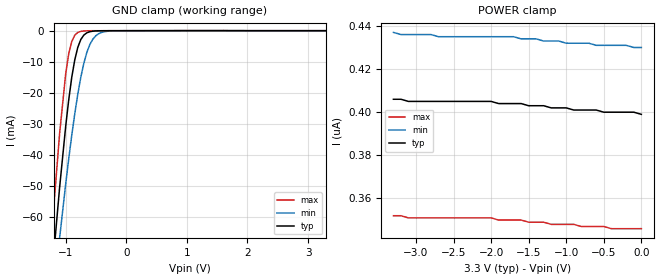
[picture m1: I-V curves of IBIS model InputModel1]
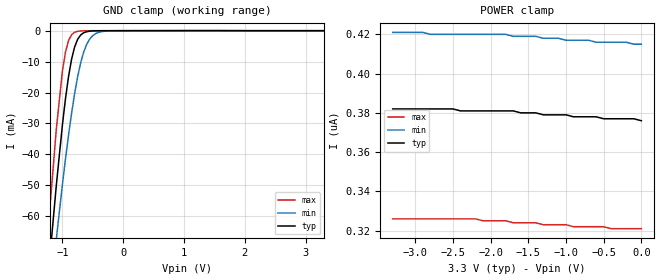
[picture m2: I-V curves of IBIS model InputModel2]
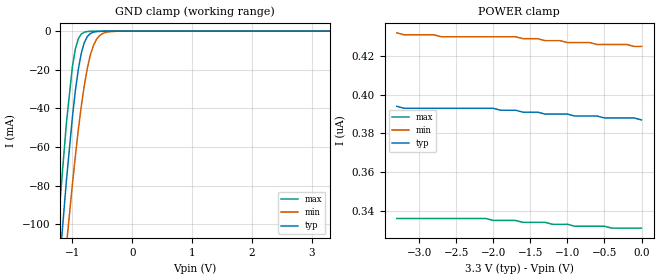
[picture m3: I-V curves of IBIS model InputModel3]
[IBIS Ver]   3.2
[File name]   24c256ts33v_rev_e.ibs|24c256=abbr chip name,ts=TSSOP,33v=3.3V Vcc
[File Rev]   2.0
[Date]   21-September-2012
[Source]   File generated from simulation at Semiconductor Components
   Industries, LLC (SCI, LLC) dba ON Semiconductor
   or its subsidiaries
[Notes]   This IBIS model is for the CAT24C256 rev.E in TSSOP package
[Disclaimer] This information is for modeling purposes only and may vary
               by component. ON Semiconductor and its subsidiaries are not
               responsible for any kind of consequence that may result from
               using this IBIS model.
[Copyright]   Copyright 2009, SCI,LLC dba ON Semiconductor, All Rights Reserved
[Component]   256K_I2C_EEPROM_@3.3V
[Manufacturer] Semiconductor Components
|   Industries, LLC (SCI, LLC) dba ON Semiconductor
|   or its subsidiaries
[Package]
| variable   typ   min   max
R_pkg   100.00m   85.00m   126.00m
L_pkg   1.94nH   1.40nH   2.43nH
C_pkg   0.12pF   0.106pF   0.15pF
|***************************Pin Definitions*****************************
[Pin]   signal_name   model_name   R_pin   L_pin   C_pin
  1   A0   InputModel1
  2   A1   InputModel2
  3   A2   InputModel3
  4   VSS   GND
  5   SDA   IOModel
  6   SCL   InputModel4
  7   WP   InputModel5
  8   VCC   POWER
| Models and submodels in the file (6): InputModel1 (Input), InputModel2 (Input), InputModel3 (Input), InputModel4 (Input), InputModel5 (Input), IOModel (I/O_open_drain)
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|**********************InputModel1**********************************
[Model]   InputModel1
Model_type   Input
|   Model for pin A0
Vinl = 0.99V
Vinh = 2.31V
C_comp   6.00pF   6.00pF   6.00pF
[Temperature Range] 25.00   125.00   -40.00
[Voltage Range]   3.30V   3.00V   3.60V
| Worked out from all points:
|   GND clamp passes 1 mA (typ) near -0.67 V on its own axis
[GND_clamp]
| voltage   I(typ)   I(min)   I(max)
-3.3V     -641mA     -540mA     -729mA
-1.3V     -96.6mA    -105mA     -85.2mA
-1.2V     -72.8mA    -85.4mA    -57.8mA
-1.1V     -50.6mA    -66.9mA    -33.2mA
-1V       -30.9mA    -49.5mA    -14mA
-950mV    -22.4mA    -41.4mA    -7.53mA
-900mV    -15.1mA    -33.8mA    -3.52mA
-800mV    -5.39mA    -20.5mA    -579uA
-700mV    -1.41mA    -10.5mA    -89uA
-600mV    -321uA     -4.42mA    -19.1uA
-400mV    -19.2uA    -520uA     -6.12uA
3.3V      399nA      431nA      345nA
[POWER_clamp]
| Voltages for [POWER_clamp] are specified with
| negative respect to Vcc.  Reference the IBIS documentation
| for more information regarding Vtable = Vcc - Voutput.
| voltage   I(typ)   I(min)   I(max)
-3.3V     406nA      437nA      352nA
-3.2V     406nA      436nA      352nA
-3.1V     405nA      436nA      351nA
-2.7V     405nA      435nA      351nA
-2V       405nA      435nA      351nA
-1.7V     404nA      435nA      350nA
-1.2V     402nA      433nA      348nA
-600mV    401nA      431nA      347nA
-500mV    400nA      431nA      347nA
-400mV    400nA      431nA      346nA
-100mV    400nA      430nA      346nA
0V        399nA      430nA      346nA
|**********************InputModel2**********************************
[Model]   InputModel2
Model_type   Input
|   Model for pin A1
Vinl = 0.99V
Vinh = 2.31V
C_comp   6.00pF   6.00pF   6.00pF
[Temperature Range] 25.00   125.00   -40.00
[Voltage Range]   3.30V   3.00V   3.60V
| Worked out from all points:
|   GND clamp passes 1 mA (typ) near -0.67 V on its own axis
[GND_clamp]
| voltage   I(typ)   I(min)   I(max)
-3.3V     -632mA     -547mA     -721mA
-1.3V     -95.1mA    -106mA     -82.9mA
-1.2V     -71.7mA    -86mA      -55.8mA
-1.1V     -49.9mA    -67.3mA    -31.7mA
-1V       -30.4mA    -49.7mA    -13mA
-950mV    -22mA      -41.5mA    -6.92mA
-900mV    -14.9mA    -33.9mA    -3.19mA
-800mV    -5.3mA     -20.4mA    -519uA
-700mV    -1.39mA    -10.4mA    -81.1uA
-600mV    -315uA     -4.36mA    -18.6uA
-400mV    -18.9uA    -511uA     -6.58uA
3.3V      376nA      416nA      320nA
[POWER_clamp]
| Voltages for [POWER_clamp] are specified with
| negative respect to Vcc.  Reference the IBIS documentation
| for more information regarding Vtable = Vcc - Voutput.
| voltage   I(typ)   I(min)   I(max)
-3.3V     382nA      421nA      326nA
-2.5V     382nA      420nA      326nA
-2.2V     381nA      420nA      326nA
-2.1V     381nA      420nA      325nA
-1.8V     381nA      420nA      325nA
-1.7V     381nA      419nA      324nA
-1.4V     380nA      419nA      324nA
-1.3V     379nA      418nA      323nA
-600mV    378nA      416nA      322nA
-200mV    377nA      416nA      321nA
-100mV    377nA      415nA      321nA
0V        376nA      415nA      321nA
|**********************InputModel3**********************************
[Model]   InputModel3
Model_type   Input
|   Model for pin A2
Vinl = 0.99V
Vinh = 2.31V
C_comp   6.00pF   6.00pF   6.00pF
[Temperature Range] 25.00   125.00   -40.00
[Voltage Range]   3.30V   3.00V   3.60V
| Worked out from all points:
|   GND clamp passes 1 mA (typ) near -0.68 V on its own axis
[GND_clamp]
| voltage   I(typ)   I(min)   I(max)
-3.3V     -1.07A     -997mA     -1.12A
-1.3V     -155mA     -182mA     -128mA
-1.2V     -115mA     -146mA     -85.4mA
-1.1V     -77.3mA    -111mA     -47.5mA
-1V       -44.5mA    -79.2mA    -18.3mA
-950mV    -30.7mA    -64.5mA    -9.12mA
-900mV    -19.5mA    -50.8mA    -3.85mA
-800mV    -5.78mA    -27.9mA    -517uA
-700mV    -1.25mA    -12.3mA    -69.1uA
-650mV    -554uA     -7.52mA    -29.5uA
-450mV    -24.4uA    -727uA     -7.35uA
3.3V      387nA      426nA      330nA
[POWER_clamp]
| Voltages for [POWER_clamp] are specified with
| negative respect to Vcc.  Reference the IBIS documentation
| for more information regarding Vtable = Vcc - Voutput.
| voltage   I(typ)   I(min)   I(max)
-3.3V     394nA      432nA      336nA
-3.2V     393nA      431nA      336nA
-2.8V     393nA      431nA      336nA
-2.7V     393nA      430nA      336nA
-2.1V     393nA      430nA      336nA
-2V       393nA      430nA      335nA
-1.9V     392nA      430nA      335nA
-1.7V     392nA      430nA      335nA
-900mV    389nA      427nA      332nA
-200mV    388nA      426nA      331nA
-100mV    388nA      425nA      331nA
0V        387nA      425nA      331nA
